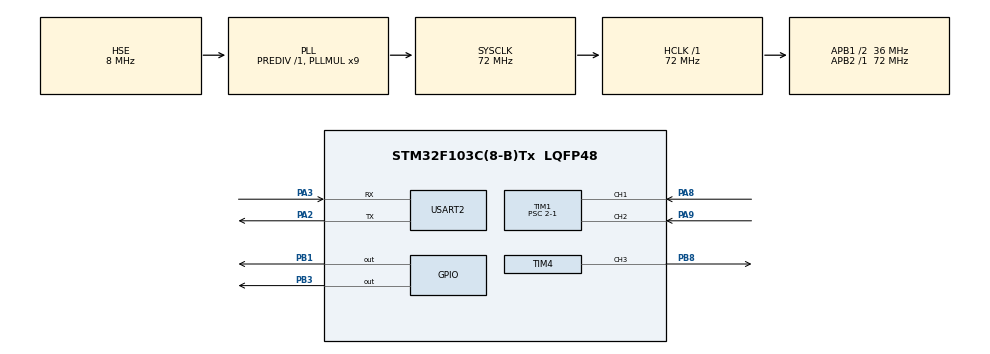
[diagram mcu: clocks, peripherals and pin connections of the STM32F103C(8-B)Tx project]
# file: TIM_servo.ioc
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Mcu.Family=STM32F1
Mcu.Name=STM32F103C(8-B)Tx
Mcu.Package=LQFP48
NVIC.PriorityGroup=NVIC_PRIORITYGROUP_4
NVIC.USART2_IRQn=true\:0\:0\:false\:false\:true\:true\:true\:true
PA13.Mode=Serial_Wire
PA13.Signal=SYS_JTMS-SWDIO
PA14.Mode=Serial_Wire
PA14.Signal=SYS_JTCK-SWCLK
PA2.Mode=Asynchronous
PA2.Signal=USART2_TX
PA3.Mode=Asynchronous
PA3.Signal=USART2_RX
PA8.Signal=S_TIM1_CH1
PA9.Signal=S_TIM1_CH2
PB1.PinState=GPIO_PIN_SET
PB1.Signal=GPIO_Output
PB3.Signal=GPIO_Output
PB8.Signal=S_TIM4_CH3
PD0-OSC_IN.Mode=HSE-External-Oscillator
PD0-OSC_IN.Signal=RCC_OSC_IN
PD1-OSC_OUT.Mode=HSE-External-Oscillator
PD1-OSC_OUT.Signal=RCC_OSC_OUT
ProjectManager.HeapSize=0x200
ProjectManager.StackSize=0x400
ProjectManager.TargetToolchain=CMake
RCC.AHBFreq_Value=72000000
RCC.APB1CLKDivider=RCC_HCLK_DIV2
RCC.APB1Freq_Value=36000000
RCC.APB1TimFreq_Value=72000000
RCC.APB2Freq_Value=72000000
RCC.APB2TimFreq_Value=72000000
RCC.HCLKFreq_Value=72000000
RCC.PLLMUL=RCC_PLL_MUL9
RCC.PLLSourceVirtual=RCC_PLLSOURCE_HSE
RCC.SYSCLKFreq_VALUE=72000000
RCC.SYSCLKSource=RCC_SYSCLKSOURCE_PLLCLK
RCC.USBFreq_Value=72000000
SH.S_TIM1_CH1.0=TIM1_CH1,Encoder_Interface
SH.S_TIM1_CH2.0=TIM1_CH2,Encoder_Interface
SH.S_TIM4_CH3.0=TIM4_CH3,PWM Generation3 CH3
TIM1.IC1Filter=15
TIM1.IC2Filter=15
TIM1.IC2Polarity=TIM_ICPOLARITY_FALLING
TIM1.Prescaler=2-1
TIM4.Channel-PWM\ Generation3\ CH3=TIM_CHANNEL_3
TIM4.Period=100-1
TIM4.Prescaler=72-1
USART2.VirtualMode=VM_ASYNC
VP_TIM4_VS_ClockSourceINT.Mode=Internal
board=custom

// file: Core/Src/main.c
/* USER CODE BEGIN Header */
/**
  ******************************************************************************
  * @file           : main.c
  * @brief          : Main program body
  ******************************************************************************
  * @attention
  *
  * Copyright (c) 2026 STMicroelectronics.
  * All rights reserved.
  *
  * This software is licensed under terms that can be found in the LICENSE file
  * in the root directory of this software component.
  * If no LICENSE file comes with this software, it is provided AS-IS.
  *
  ******************************************************************************
  */
/* USER CODE END Header */
#include "main.h"
#include "tim.h"
#include "usart.h"
#include "gpio.h"

/* USER CODE BEGIN Includes */
#include "stdio.h"
/* USER CODE END Includes */

void SystemClock_Config(void);

int main(void)
{

  /* MCU Configuration--------------------------------------------------------*/

  /* Reset of all peripherals, Initializes the Flash interface and the Systick. */
  HAL_Init();

  /* Configure the system clock */
  SystemClock_Config();

  /* Initialize all configured peripherals */
  MX_GPIO_Init();
  MX_TIM1_Init();
  MX_TIM4_Init();
  MX_USART2_UART_Init();
  /* USER CODE BEGIN 2 */
  int count = 50;
  __HAL_TIM_SET_COUNTER(&htim1, 50);
  __HAL_TIM_SET_COMPARE(&htim4, TIM_CHANNEL_3, 0);
  HAL_TIM_Encoder_Start(&htim1, TIM_CHANNEL_ALL);
  HAL_TIM_PWM_Start(&htim4, TIM_CHANNEL_3);

  /* USER CODE END 2 */

  /* Infinite loop */
  /* USER CODE BEGIN WHILE */
  while (1)
  {
    count = __HAL_TIM_GET_COUNTER(&htim1);
    /* Keep the original underflow check before the upper-limit check. */
    if (count > 6000)
    {
      count = 0;
      __HAL_TIM_SET_COUNTER(&htim1, 0);
    }
    else if (count > 100)
    {
      count = 100;
      __HAL_TIM_SET_COUNTER(&htim1, 100);
    }

    /* Distance from the midpoint determines the PWM duty cycle. */
    if (count < 50)
    {
      HAL_GPIO_WritePin(GPIOB, GPIO_PIN_1, GPIO_PIN_RESET);
      HAL_GPIO_WritePin(GPIOB, GPIO_PIN_3, GPIO_PIN_SET);
      __HAL_TIM_SET_COMPARE(&htim4, TIM_CHANNEL_3, (50 - count) * 2);
    }
    else if (count >= 50)
    {
      HAL_GPIO_WritePin(GPIOB, GPIO_PIN_3, GPIO_PIN_RESET);
      HAL_GPIO_WritePin(GPIOB, GPIO_PIN_1, GPIO_PIN_SET);
      __HAL_TIM_SET_COMPARE(&htim4, TIM_CHANNEL_3, (count - 50) * 2);
    }

    printf("count: %d \r\n", count);
    HAL_Delay(500);
    /* USER CODE END WHILE */

  }
}

void SystemClock_Config(void)
{
  RCC_OscInitTypeDef RCC_OscInitStruct = {0};
  RCC_ClkInitTypeDef RCC_ClkInitStruct = {0};

  /** Initializes the RCC Oscillators according to the specified parameters
  * in the RCC_OscInitTypeDef structure.
  */
  RCC_OscInitStruct.OscillatorType = RCC_OSCILLATORTYPE_HSE;
  RCC_OscInitStruct.HSEState = RCC_HSE_ON;
  RCC_OscInitStruct.HSEPredivValue = RCC_HSE_PREDIV_DIV1;
  RCC_OscInitStruct.HSIState = RCC_HSI_ON;
  RCC_OscInitStruct.PLL.PLLState = RCC_PLL_ON;
  RCC_OscInitStruct.PLL.PLLSource = RCC_PLLSOURCE_HSE;
  RCC_OscInitStruct.PLL.PLLMUL = RCC_PLL_MUL9;
  if (HAL_RCC_OscConfig(&RCC_OscInitStruct) != HAL_OK)
  {
    Error_Handler();
  }

  /** Initializes the CPU, AHB and APB buses clocks
  */
  RCC_ClkInitStruct.ClockType = RCC_CLOCKTYPE_HCLK|RCC_CLOCKTYPE_SYSCLK
                              |RCC_CLOCKTYPE_PCLK1|RCC_CLOCKTYPE_PCLK2;
  RCC_ClkInitStruct.SYSCLKSource = RCC_SYSCLKSOURCE_PLLCLK;
  RCC_ClkInitStruct.AHBCLKDivider = RCC_SYSCLK_DIV1;
  RCC_ClkInitStruct.APB1CLKDivider = RCC_HCLK_DIV2;
  RCC_ClkInitStruct.APB2CLKDivider = RCC_HCLK_DIV1;

  if (HAL_RCC_ClockConfig(&RCC_ClkInitStruct, FLASH_LATENCY_2) != HAL_OK)
  {
    Error_Handler();
  }
}

void Error_Handler(void)
{
  __disable_irq();
  while (1)
  {
  }
}
